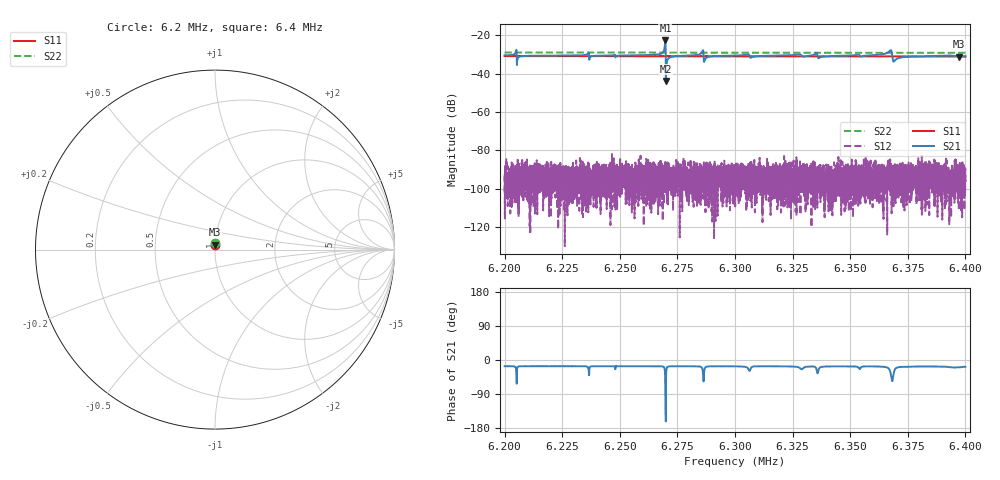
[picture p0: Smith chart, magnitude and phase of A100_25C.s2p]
!CETC41,AV3656A,ZGL00048,1.3.2
!Calibration ON (Full Solt 2-Port(Omit Isolation))
!Measurements: S11 S21 S12 S22
!2025-04-18 00:05
# Hz  S  dB  R 50.000
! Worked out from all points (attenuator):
!   6401 points, 6.2 MHz to 6.4 MHz, reference 50 ohm
!   highest |S21| = -22.74 dB at 6.2698 MHz (marker M1); lowest = -43.9 dB at 6.27 MHz (marker M2)
!   lowest |S11| = -31.1 dB at 6.3972 MHz (marker M3), VSWR 1.06, Z = 49.9 + j2.78 ohm
!   |S11| at or under -10 dB: start of sweep to end of sweep
!   |S22| runs from -29.2 to -29.0 dB; largest |S21 - S12| = 0.073
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6200000  -30.91 86.6  -30.50 -16.4  -101.62 58.7  -29.04 90.8
6204219  -30.91 86.6  -29.88 -17.0  -101.00 -28.7  -29.04 90.9
6206250  -30.92 86.6  -31.32 -16.8  -88.88 -26.4  -29.04 90.9
6233344  -30.94 87.3  -30.47 -16.5  -98.37 119.6  -29.06 91.4
6266688  -30.98 88.1  -30.01 -16.6  -95.48 -95.4  -29.09 92.1
6268906  -30.98 88.0  -28.64 -17.8  -93.63 153.3  -29.09 92.0
6269781  -30.98 88.1  -22.74 -70.0  -86.10 116.9  -29.10 92.1
6270000  -30.98 88.1  -43.92 -50.8  -97.20 15.8  -29.09 92.1
6270938  -30.98 88.1  -32.34 -17.5  -108.29 -117.9  -29.09 92.0
6272656  -30.98 88.2  -31.22 -16.7  -94.79 88.4  -29.09 92.1
6285281  -30.99 88.5  -29.45 -18.2  -90.19 -38.2  -29.11 92.3
6287375  -31.00 88.6  -31.92 -18.3  -101.81 9.6  -29.11 92.4
6300000  -31.00 88.8  -30.59 -16.9  -99.92 62.8  -29.12 92.6
6333344  -31.03 89.6  -30.48 -17.1  -93.89 -19.1  -29.15 93.2
6334844  -31.05 89.6  -29.80 -18.5  -91.71 77.9  -29.15 93.2
6336906  -31.05 89.7  -31.60 -19.7  -91.59 -27.7  -29.15 93.3
6355219  -31.06 90.1  -30.91 -17.5  -96.41 96.3  -29.16 93.6
6366688  -31.07 90.4  -28.74 -22.3  -91.64 116.6  -29.18 93.8
6369375  -31.08 90.3  -33.17 -25.2  -100.17 10.2  -29.18 93.8
6374156  -31.08 90.5  -31.35 -18.1  -90.16 63.1  -29.17 93.9
6397250  -31.11 91.0  -30.92 -19.5  -88.76 53.6  -29.19 94.3
6400000  -31.10 91.1  -30.94 -17.9  -92.90 -10.1  -29.19 94.3
